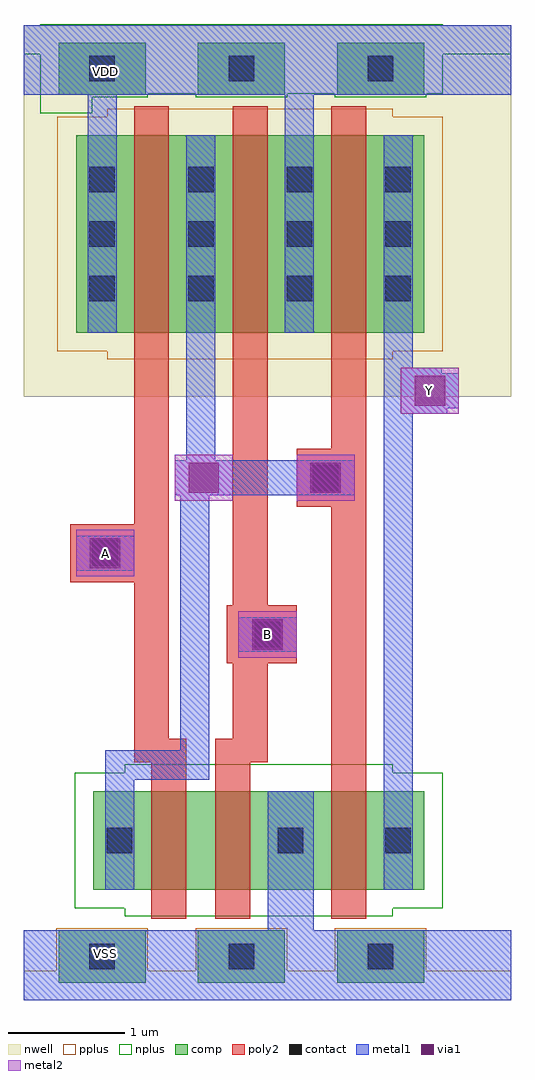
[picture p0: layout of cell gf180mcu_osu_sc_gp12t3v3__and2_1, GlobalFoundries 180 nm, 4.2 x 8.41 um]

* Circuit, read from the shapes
.subckt gf180mcu_osu_sc_gp12t3v3__and2_1 A B VDD VSS Y
XM1 n1 A n2 VSS nfet_03v3 w=0.85u l=0.3u
XM2 VSS B n1 VSS nfet_03v3 w=0.85u l=0.3u
XM3 Y n2 VSS VSS nfet_03v3 w=0.85u l=0.3u
XM4 n2 A VDD VDD pfet_03v3 w=1.7u l=0.3u
XM5 VDD B n2 VDD pfet_03v3 w=1.7u l=0.3u
XM6 Y n2 VDD VDD pfet_03v3 w=1.7u l=0.3u
.ends

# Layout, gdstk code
import gdstk
lib = gdstk.Library(unit=1e-6, precision=1e-09)
def R(c, l, rs):  # rectangles x0, y0, x1, y1
    for r in rs: c.add(gdstk.rectangle(r[:2], r[2:], *l))
def A(c, l, x, y, w, h, nx, ny, dx, dy):  # array of equal rectangles
    R(c, l, [(x+i*dx, y+j*dy, x+i*dx+w, y+j*dy+h) for i in range(nx) for j in range(ny)])
nwell = (21, 0)
comp = (22, 0)
poly2 = (30, 0)
pplus = (31, 0)
nplus = (32, 0)
contact = (33, 0)
metal1 = (34, 0)
via1 = (35, 0)
metal2 = (36, 0)

gf180mcu_osu_sc_gp12t3v3 = lib.new_cell('gf180mcu_osu_sc_gp12t3v3__and2_1')
R(gf180mcu_osu_sc_gp12t3v3, nwell, [(0,5.2,4.2,8.4)])
A(gf180mcu_osu_sc_gp12t3v3, comp, 0.3, 0.15, 0.75, 0.45, 3, 2, 1.2, 7.65)
R(gf180mcu_osu_sc_gp12t3v3, comp, [(0.6,0.95,3.45,1.8), (0.45,5.75,3.45,7.45)])
R(gf180mcu_osu_sc_gp12t3v3, poly2, [(1.1,0.7,1.4,2.05), (1.65,0.7,1.95,2.05), (2.65,0.7,2.95,4.25), (0.95,2.05,1.4,2.25), (1.65,2.05,2.1,2.25), (0.95,2.25,1.25,3.6), (1.8,2.25,2.1,2.9), (1.75,2.9,2.35,3.4), (1.8,3.4,2.1,7.7), (0.4,3.6,1.25,4.1), (0.95,4.1,1.25,7.7), (2.35,4.25,2.95,4.75), (2.65,4.75,2.95,7.7)])
A(gf180mcu_osu_sc_gp12t3v3, pplus, 0.28, 0.13, 0.79, 0.49, 3, 1, 1.2, 0)
R(gf180mcu_osu_sc_gp12t3v3, pplus, [(0,0,4.2,0.25), (0.72,5.52,3.18,5.59), (0.29,5.59,3.61,7.61), (0.72,7.61,3.18,7.68)])
R(gf180mcu_osu_sc_gp12t3v3, nplus, [(0.87,0.72,3.18,0.79), (0.44,0.79,3.61,1.96), (0.87,1.96,3.18,2.03), (0.14,7.64,0.59,7.78), (0.14,7.78,1.07,7.81), (1.48,7.78,2.27,7.81), (2.68,7.78,3.47,7.81), (0.14,7.81,3.61,8.15), (0,8.15,4.2,8.4), (0,8.15,4.2,8.4), (0.14,8.4,3.61,8.41)])
A(gf180mcu_osu_sc_gp12t3v3, contact, 0.565, 0.265, 0.22, 0.22, 3, 2, 1.2, 7.65)
A(gf180mcu_osu_sc_gp12t3v3, contact, 0.565, 6.02, 0.22, 0.22, 4, 3, 0.85, 0.47)
R(gf180mcu_osu_sc_gp12t3v3, contact, [(0.715,1.265,0.935,1.485), (2.19,1.265,2.41,1.485), (3.115,1.265,3.335,1.485), (1.99,3.04,2.21,3.26), (0.59,3.74,0.81,3.96), (2.49,4.39,2.71,4.61)])
R(gf180mcu_osu_sc_gp12t3v3, metal1, [(0,0,4.2,0.6), (2.1,0.6,2.5,1.8), (0.7,0.95,0.95,1.9), (3.1,0.95,3.35,5.05), (0.7,1.9,1.6,2.15), (1.35,2.15,1.6,4.35), (1.85,3,2.35,3.3), (0.45,3.7,0.95,4), (1.3,4.35,2.85,4.65), (1.4,4.65,1.65,7.45), (3.1,5.05,3.65,5.1), (3.1,5.1,3.75,5.4), (3.1,5.4,3.6,5.45), (3.1,5.45,3.35,7.45), (0.55,5.75,0.8,7.8), (2.25,5.75,2.5,7.8), (0,7.8,4.2,8.4)])
R(gf180mcu_osu_sc_gp12t3v3, via1, [(1.97,3.02,2.23,3.28), (0.57,3.72,0.83,3.98), (1.42,4.37,1.68,4.63), (2.47,4.37,2.73,4.63), (3.37,5.12,3.63,5.38)])
R(gf180mcu_osu_sc_gp12t3v3, metal2, [(1.85,2.95,2.35,3.35), (0.45,3.65,0.95,4.05), (1.3,4.3,1.8,4.7), (2.35,4.3,2.85,4.7), (3.25,5.05,3.75,5.45)])
gf180mcu_osu_sc_gp12t3v3.add(gdstk.Label('A', (0.7,3.85), layer=36, texttype=10))
gf180mcu_osu_sc_gp12t3v3.add(gdstk.Label('B', (2.1,3.15), layer=36, texttype=10))
gf180mcu_osu_sc_gp12t3v3.add(gdstk.Label('Y', (3.5,5.25), layer=36, texttype=10))
gf180mcu_osu_sc_gp12t3v3.add(gdstk.Label('VDD', (0.7,8), layer=34, texttype=10))
gf180mcu_osu_sc_gp12t3v3.add(gdstk.Label('VSS', (0.7,0.4), layer=34, texttype=10))

lib.write_gds('gf180mcu_osu_sc_gp12t3v3__and2_1.gds')
